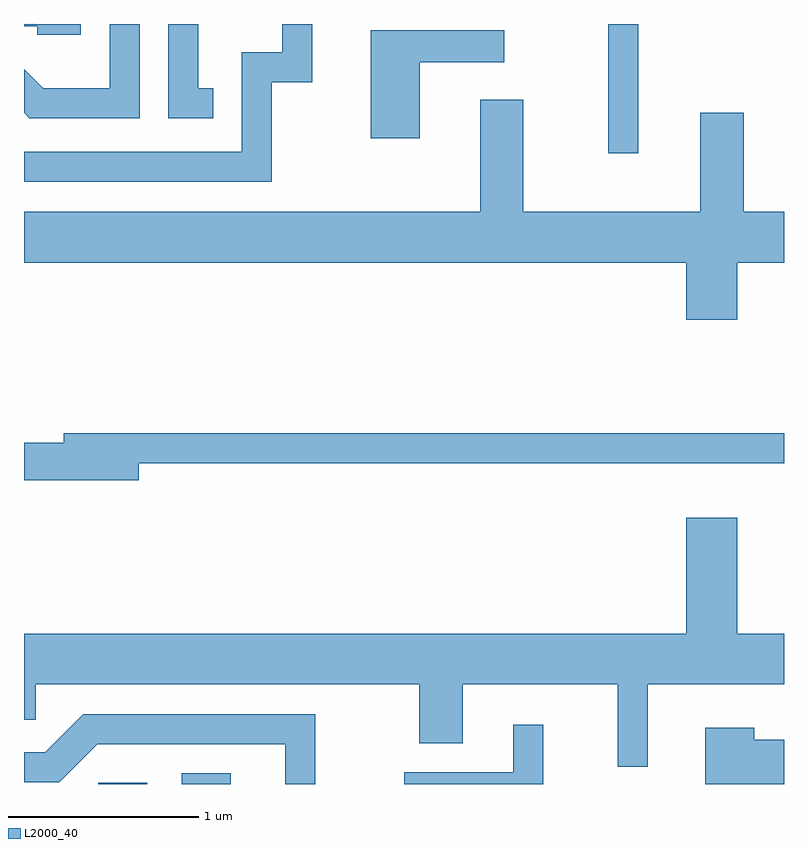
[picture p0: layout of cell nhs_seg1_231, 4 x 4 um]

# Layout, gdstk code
import gdstk
lib = gdstk.Library(unit=1e-6, precision=1e-09)
def R(c, l, rs):  # rectangles x0, y0, x1, y1
    for r in rs: c.add(gdstk.rectangle(r[:2], r[2:], *l))
def P(c, l, *ps):  # polygons
    for p in ps: c.add(gdstk.Polygon(p, *l))
L2000_40 = (2000, 40)

nhs_seg1_231 = lib.new_cell('nhs_seg1_231')
R(nhs_seg1_231, L2000_40, [(192.003,905.712,192.259,905.719), (192.441,905.712,192.698,905.769), (194.686,909.033,194.844,909.712)])
P(nhs_seg1_231, L2000_40, [(192.914,909.406),(193.129,909.406),(193.129,909.712),(192.971,909.712),(192.971,909.564),(192.756,909.564),(192.756,909.039),(191.611,909.039),(191.611,908.881),(192.914,908.881)],
  [(192.219,909.712),(192.061,909.712),(192.061,909.374),(191.712,909.374),(191.611,909.475),(191.611,909.244),(191.639,909.216),(192.219,909.216)],
  [(191.909,909.712),(191.611,909.712),(191.611,909.701),(191.681,909.701),(191.681,909.656),(191.909,909.656)],
  [(192.608,909.374),(192.529,909.374),(192.529,909.712),(192.371,909.712),(192.371,909.216),(192.608,909.216)],
  [(193.694,909.511),(194.138,909.511),(194.138,909.679),(193.436,909.679),(193.436,909.111),(193.694,909.111)],
  [(195.364,908.456),(195.611,908.456),(195.611,908.724),(195.399,908.724),(195.399,909.244),(195.171,909.244),(195.171,908.724),(194.239,908.724),(194.239,909.314),(194.011,909.314),(194.011,908.724),(191.611,908.724),(191.611,908.456),(195.096,908.456),(195.096,908.156),(195.364,908.156)],
  [(192.214,907.401),(195.611,907.401),(195.611,907.559),(191.821,907.559),(191.821,907.509),(191.611,907.509),(191.611,907.311),(192.214,907.311)],
  [(194.894,906.236),(195.611,906.236),(195.611,906.504),(195.364,906.504),(195.364,907.114),(195.096,907.114),(195.096,906.504),(191.611,906.504),(191.611,906.051),(191.674,906.051),(191.674,906.236),(193.691,906.236),(193.691,905.926),(193.919,905.926),(193.919,906.236),(194.736,906.236),(194.736,905.803),(194.894,905.803)],
  [(193.144,906.079),(191.924,906.079),(191.724,905.879),(191.611,905.879),(191.611,905.721),(191.797,905.721),(191.997,905.921),(192.986,905.921),(192.986,905.712),(193.144,905.712)],
  [(194.344,906.023),(194.186,906.023),(194.186,905.774),(193.611,905.774),(193.611,905.712),(194.344,905.712)],
  [(195.611,905.944),(195.454,905.944),(195.454,906.009),(195.196,906.009),(195.196,905.712),(195.611,905.712)])

lib.write_gds('nhs_seg1_231.gds')
